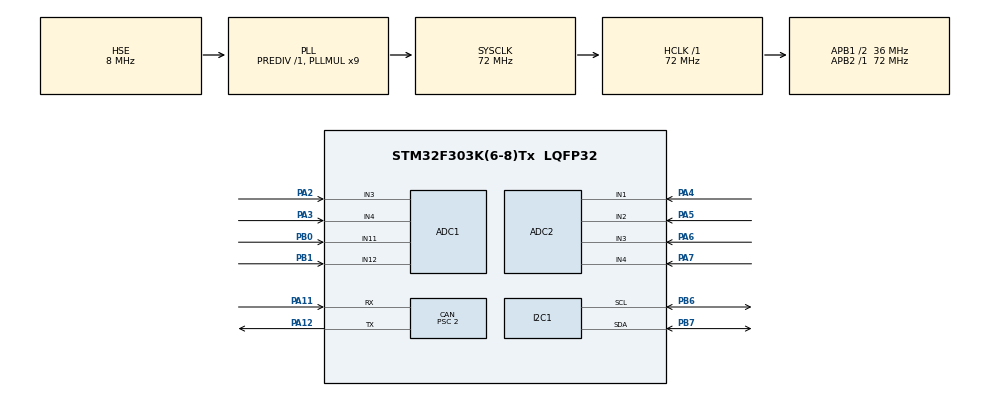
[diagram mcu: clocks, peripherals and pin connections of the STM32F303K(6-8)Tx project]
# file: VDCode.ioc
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ADC1.Channel-1\#ChannelRegularConversion=ADC_CHANNEL_3
ADC1.Channel-4\#ChannelRegularConversion=ADC_CHANNEL_4
ADC1.Channel-5\#ChannelRegularConversion=ADC_CHANNEL_11
ADC1.Channel-6\#ChannelRegularConversion=ADC_CHANNEL_12
ADC1.ContinuousConvMode=ENABLE
ADC1.DMAContinuousRequests=ENABLE
ADC1.EOCSelection=ADC_EOC_SINGLE_CONV
ADC1.EnableInjectedConversion=DISABLE
ADC1.ExternalTrigConv=ADC_SOFTWARE_START
ADC1.Mode=ADC_DUALMODE_REGSIMULT
ADC1.NbrOfConversion=4
ADC1.NbrOfConversionFlag=1
ADC1.Offset-1\#ChannelRegularConversion=0
ADC1.Offset-4\#ChannelRegularConversion=0
ADC1.Offset-5\#ChannelRegularConversion=0
ADC1.Offset-6\#ChannelRegularConversion=0
ADC1.OffsetNumber-1\#ChannelRegularConversion=ADC_OFFSET_NONE
ADC1.OffsetNumber-4\#ChannelRegularConversion=ADC_OFFSET_NONE
ADC1.OffsetNumber-5\#ChannelRegularConversion=ADC_OFFSET_NONE
ADC1.OffsetNumber-6\#ChannelRegularConversion=ADC_OFFSET_NONE
ADC1.Rank-1\#ChannelRegularConversion=1
ADC1.Rank-4\#ChannelRegularConversion=2
ADC1.Rank-5\#ChannelRegularConversion=3
ADC1.Rank-6\#ChannelRegularConversion=4
ADC1.SamplingTime-1\#ChannelRegularConversion=ADC_SAMPLETIME_61CYCLES_5
ADC1.SamplingTime-4\#ChannelRegularConversion=ADC_SAMPLETIME_61CYCLES_5
ADC1.SamplingTime-5\#ChannelRegularConversion=ADC_SAMPLETIME_61CYCLES_5
ADC1.SamplingTime-6\#ChannelRegularConversion=ADC_SAMPLETIME_61CYCLES_5
ADC1.SamplingTimeOPAMP-4\#ChannelRegularConversion=ADC_SAMPLETIME_61CYCLES_5
ADC1.SamplingTimeOPAMP-5\#ChannelRegularConversion=ADC_SAMPLETIME_61CYCLES_5
ADC1.SamplingTimeOPAMP-6\#ChannelRegularConversion=ADC_SAMPLETIME_61CYCLES_5
ADC1.SequencerNbRanks=1
ADC1.SubFamily=STM32F303x8
ADC1.master=1
ADC2.Channel-0\#ChannelRegularConversion=ADC_CHANNEL_1
ADC2.Channel-1\#ChannelRegularConversion=ADC_CHANNEL_2
ADC2.Channel-2\#ChannelRegularConversion=ADC_CHANNEL_3
ADC2.Channel-3\#ChannelRegularConversion=ADC_CHANNEL_4
ADC2.ContinuousConvMode=ENABLE
ADC2.DMAContinuousRequests=DISABLE
ADC2.EOCSelection=ADC_EOC_SINGLE_CONV
ADC2.EnableInjectedConversion=DISABLE
ADC2.Mode=ADC_DUALMODE_REGSIMULT
ADC2.NbrOfConversion=4
ADC2.NbrOfConversionFlag=1
ADC2.Offset-0\#ChannelRegularConversion=0
ADC2.Offset-1\#ChannelRegularConversion=0
ADC2.Offset-2\#ChannelRegularConversion=0
ADC2.Offset-3\#ChannelRegularConversion=0
ADC2.OffsetNumber-0\#ChannelRegularConversion=ADC_OFFSET_NONE
ADC2.OffsetNumber-1\#ChannelRegularConversion=ADC_OFFSET_NONE
ADC2.OffsetNumber-2\#ChannelRegularConversion=ADC_OFFSET_NONE
ADC2.OffsetNumber-3\#ChannelRegularConversion=ADC_OFFSET_NONE
ADC2.Rank-0\#ChannelRegularConversion=1
ADC2.Rank-1\#ChannelRegularConversion=2
ADC2.Rank-2\#ChannelRegularConversion=3
ADC2.Rank-3\#ChannelRegularConversion=4
ADC2.SamplingTime-0\#ChannelRegularConversion=ADC_SAMPLETIME_61CYCLES_5
ADC2.SamplingTime-1\#ChannelRegularConversion=ADC_SAMPLETIME_61CYCLES_5
ADC2.SamplingTime-2\#ChannelRegularConversion=ADC_SAMPLETIME_61CYCLES_5
ADC2.SamplingTime-3\#ChannelRegularConversion=ADC_SAMPLETIME_61CYCLES_5
ADC2.SamplingTimeOPAMP-1\#ChannelRegularConversion=ADC_SAMPLETIME_61CYCLES_5
ADC2.SamplingTimeOPAMP-2\#ChannelRegularConversion=ADC_SAMPLETIME_61CYCLES_5
ADC2.SamplingTimeOPAMP-3\#ChannelRegularConversion=ADC_SAMPLETIME_61CYCLES_5
ADC2.SequencerNbRanks=1
ADC2.SubFamily=STM32F303x8
CAN.BS1=CAN_BS1_16TQ
CAN.CalculateBaudRate=1000000
CAN.CalculateTimeBit=1000
CAN.CalculateTimeQuantum=55.55555555555556
CAN.NART=DISABLE
CAN.Prescaler=2
CAN.SJW=CAN_SJW_1TQ
Dma.ADC1.0.Direction=DMA_PERIPH_TO_MEMORY
Dma.ADC1.0.Instance=DMA1_Channel1
Dma.ADC1.0.MemDataAlignment=DMA_MDATAALIGN_WORD
Dma.ADC1.0.MemInc=DMA_MINC_ENABLE
Dma.ADC1.0.Mode=DMA_CIRCULAR
Dma.ADC1.0.PeriphDataAlignment=DMA_PDATAALIGN_WORD
Dma.ADC1.0.PeriphInc=DMA_PINC_DISABLE
Dma.ADC1.0.Priority=DMA_PRIORITY_LOW
Dma.I2C1_RX.2.Direction=DMA_PERIPH_TO_MEMORY
Dma.I2C1_RX.2.Instance=DMA1_Channel3
Dma.I2C1_RX.2.MemDataAlignment=DMA_MDATAALIGN_BYTE
Dma.I2C1_RX.2.MemInc=DMA_MINC_ENABLE
Dma.I2C1_RX.2.Mode=DMA_NORMAL
Dma.I2C1_RX.2.PeriphDataAlignment=DMA_PDATAALIGN_BYTE
Dma.I2C1_RX.2.PeriphInc=DMA_PINC_DISABLE
Dma.I2C1_RX.2.Priority=DMA_PRIORITY_LOW
Dma.I2C1_TX.1.Direction=DMA_MEMORY_TO_PERIPH
Dma.I2C1_TX.1.Instance=DMA1_Channel2
Dma.I2C1_TX.1.MemDataAlignment=DMA_MDATAALIGN_BYTE
Dma.I2C1_TX.1.MemInc=DMA_MINC_ENABLE
Dma.I2C1_TX.1.Mode=DMA_NORMAL
Dma.I2C1_TX.1.PeriphDataAlignment=DMA_PDATAALIGN_BYTE
Dma.I2C1_TX.1.PeriphInc=DMA_PINC_DISABLE
Dma.I2C1_TX.1.Priority=DMA_PRIORITY_LOW
Dma.Request0=ADC1
Dma.Request1=I2C1_TX
Dma.Request2=I2C1_RX
FREERTOS.BinarySemaphores01=adcDataSemaphore,Dynamic,NULL,Depleted;i2cTxSemaphore,Dynamic,NULL,Available;i2cRxSemaphore,Dynamic,NULL,Available
FREERTOS.CountingSemaphores01=canTxSemaphore,3,Dynamic,NULL,3
FREERTOS.Queues01=rxParamQueue,5,canBusConfig_t,0,Dynamic,NULL,NULL
FREERTOS.Tasks01=main,24,128,mainTask,Default,NULL,Dynamic,NULL,NULL;setParameters,16,128,setParametersTask,Default,NULL,Dynamic,NULL,NULL
I2C1.Timing=0x00201D2B
Mcu.Family=STM32F3
Mcu.Name=STM32F303K(6-8)Tx
Mcu.Package=LQFP32
NVIC.CAN_RX0_IRQn=true\:5\:0\:false\:false\:true\:true\:true\:true\:true
NVIC.CAN_TX_IRQn=true\:7\:0\:true\:false\:true\:true\:true\:true\:true
NVIC.DMA1_Channel1_IRQn=true\:5\:0\:false\:false\:true\:true\:false\:true\:true
NVIC.DMA1_Channel2_IRQn=true\:5\:0\:false\:false\:true\:true\:false\:true\:true
NVIC.DMA1_Channel3_IRQn=true\:5\:0\:false\:false\:true\:true\:false\:true\:true
NVIC.I2C1_EV_IRQn=true\:6\:0\:true\:false\:true\:true\:true\:true\:true
NVIC.PriorityGroup=NVIC_PRIORITYGROUP_4
NVIC.TIM1_UP_TIM16_IRQn=true\:15\:0\:false\:false\:true\:false\:false\:true\:true
NVIC.TimeBase=TIM1_UP_TIM16_IRQn
NVIC.TimeBaseIP=TIM1
PA11.Mode=CAN_Activate
PA11.Signal=CAN_RX
PA12.Mode=CAN_Activate
PA12.Signal=CAN_TX
PA13.Mode=Trace_Asynchronous_SW
PA13.Signal=SYS_JTMS-SWDIO
PA14.Mode=Trace_Asynchronous_SW
PA14.Signal=SYS_JTCK-SWCLK
PA2.Mode=IN3-Single-Ended
PA2.Signal=ADC1_IN3
PA3.Mode=IN4-Single-Ended
PA3.Signal=ADC1_IN4
PA4.Mode=IN1-Single-Ended
PA4.Signal=ADC2_IN1
PA5.Mode=IN2-Single-Ended
PA5.Signal=ADC2_IN2
PA6.Mode=IN3-Single-Ended
PA6.Signal=ADC2_IN3
PA7.Mode=IN4-Single-Ended
PA7.Signal=ADC2_IN4
PB0.Mode=IN11-Single-Ended
PB0.Signal=ADC1_IN11
PB1.Mode=IN12-Single-Ended
PB1.Signal=ADC1_IN12
PB3.Mode=Trace_Asynchronous_SW
PB3.Signal=SYS_JTDO-TRACESWO
PB6.GPIO_Pu=GPIO_PULLUP
PB6.Mode=I2C
PB6.Signal=I2C1_SCL
PB7.GPIO_Pu=GPIO_PULLUP
PB7.Mode=I2C
PB7.Signal=I2C1_SDA
PF0\ /\ OSC_IN.Mode=HSE-External-Oscillator
PF0\ /\ OSC_IN.Signal=RCC_OSC_IN
PF1\ /\ OSC_OUT.Mode=HSE-External-Oscillator
PF1\ /\ OSC_OUT.Signal=RCC_OSC_OUT
ProjectManager.HeapSize=0x200
ProjectManager.StackSize=0x400
ProjectManager.TargetToolchain=CMake
RCC.ADC12PRES=RCC_ADC12PLLCLK_DIV256
RCC.AHBFreq_Value=72000000
RCC.APB1CLKDivider=RCC_HCLK_DIV2
RCC.APB1Freq_Value=36000000
RCC.APB1TimFreq_Value=72000000
RCC.APB2Freq_Value=72000000
RCC.APB2TimFreq_Value=72000000
RCC.CortexFreq_Value=72000000
RCC.HCLKFreq_Value=72000000
RCC.HSE_VALUE=8000000
RCC.HSI_VALUE=8000000
RCC.PLLMUL=RCC_PLL_MUL9
RCC.PLLSourceVirtual=RCC_PLLSOURCE_HSE
RCC.SYSCLKFreq_VALUE=72000000
RCC.SYSCLKSourceVirtual=RCC_SYSCLKSOURCE_PLLCLK
VP_FREERTOS_VS_CMSIS_V2.Mode=CMSIS_V2
VP_SYS_VS_tim1.Mode=TIM1
board=custom

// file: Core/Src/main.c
/* USER CODE BEGIN Header */
/**
  ******************************************************************************
  * @file           : main.c
  * @brief          : Main program body
  ******************************************************************************
  * @attention
  *
  * Copyright (c) 2025 STMicroelectronics.
  * All rights reserved.
  *
  * This software is licensed under terms that can be found in the LICENSE file
  * in the root directory of this software component.
  * If no LICENSE file comes with this software, it is provided AS-IS.
  *
  ******************************************************************************
  */
/* USER CODE END Header */
#include "main.h"
#include "cmsis_os.h"

/* USER CODE BEGIN Includes */
#include "stdio.h"
#include "stdbool.h"
#include "asm330lhh_reg.h"
#include "config.h"
#include "string.h"
#include "stdarg.h"
#include "flash_utils.h"
/* USER CODE END Includes */

/* USER CODE BEGIN PD */

#define AXIS_NUM 3 /* 3-Axis measurement*/
#define SENSOR_BUS hi2c1
#define ACCEL_DATA_RATE ASM330LHH_XL_ODR_1667Hz	/* 6.6 kHz accelerometer data rate */
#define GYRO_DATA_RATE ASM330LHH_GY_ODR_1667Hz	/* 6.6 kHz gyroscope data rate */
#define IMU_SAMPLES_NUM 3

#define EVENT_CAN_TX_DONE 0x1

#define CAN_RX_FIFO_USED CAN_RX_FIFO0

/* USER CODE END PD */

ADC_HandleTypeDef hadc1;
ADC_HandleTypeDef hadc2;
DMA_HandleTypeDef hdma_adc1;

CAN_HandleTypeDef hcan;

I2C_HandleTypeDef hi2c1;
DMA_HandleTypeDef hdma_i2c1_tx;
DMA_HandleTypeDef hdma_i2c1_rx;

/* Definitions for main */
osThreadId_t mainHandle;
const osThreadAttr_t main_attributes = {
  .name = "main",
  .stack_size = 128 * 4,
  .priority = (osPriority_t) osPriorityNormal,
};
/* Definitions for setParameters */
osThreadId_t setParametersHandle;
const osThreadAttr_t setParameters_attributes = {
  .name = "setParameters",
  .stack_size = 128 * 4,
  .priority = (osPriority_t) osPriorityBelowNormal,
};
/* Definitions for rxParamQueue */
osMessageQueueId_t rxParamQueueHandle;
const osMessageQueueAttr_t rxParamQueue_attributes = {
  .name = "rxParamQueue"
};
/* Definitions for adcDataSemaphore */
osSemaphoreId_t adcDataSemaphoreHandle;
const osSemaphoreAttr_t adcDataSemaphore_attributes = {
  .name = "adcDataSemaphore"
};
/* Definitions for i2cTxSemaphore */
osSemaphoreId_t i2cTxSemaphoreHandle;
const osSemaphoreAttr_t i2cTxSemaphore_attributes = {
  .name = "i2cTxSemaphore"
};
/* Definitions for i2cRxSemaphore */
osSemaphoreId_t i2cRxSemaphoreHandle;
const osSemaphoreAttr_t i2cRxSemaphore_attributes = {
  .name = "i2cRxSemaphore"
};
/* Definitions for canTxSemaphore */
osSemaphoreId_t canTxSemaphoreHandle;
const osSemaphoreAttr_t canTxSemaphore_attributes = {
  .name = "canTxSemaphore"
};
/* USER CODE BEGIN PV */

/* Callback function for ADC conversion */
void HAL_ADC_ConvCpltCallback(ADC_HandleTypeDef* hadc);

/* Callback functions for CAN TX */
void HAL_CAN_TxMailbox0CompleteCallback(CAN_HandleTypeDef *hcan);
void HAL_CAN_TxMailbox1CompleteCallback(CAN_HandleTypeDef *hcan);
void HAL_CAN_TxMailbox2CompleteCallback(CAN_HandleTypeDef *hcan);
void HAL_CAN_TxMailbox0AbortCallback(CAN_HandleTypeDef *hcan);
void HAL_CAN_TxMailbox1AbortCallback(CAN_HandleTypeDef *hcan);
void HAL_CAN_TxMailbox2AbortCallback(CAN_HandleTypeDef *hcan);

/* Callback function for CAN RX */
void HAL_CAN_RxFifo0MsgPendingCallback(CAN_HandleTypeDef *hcan);

/* Swaps the ADC signals to their correct positions. */
void ADC_swap(ADC_Samples_t *ret);

/* Function that sends data over CAN Bus CORRECTLY */
HAL_StatusTypeDef Send_CAN_Msg(uint32_t id, uint32_t dlc, uint8_t* aData);

void SimpleFilter(ADC_Samples_t *values, axis3bit16_t *accel, axis3bit16_t *gyro);

/* USER CODE END PV */

void SystemClock_Config(void);
static void MX_GPIO_Init(void);
static void MX_DMA_Init(void);
static void MX_ADC1_Init(void);
static void MX_ADC2_Init(void);
static void MX_CAN_Init(void);
static void MX_I2C1_Init(void);
void mainTask(void *argument);
void setParametersTask(void *argument);

/* USER CODE BEGIN PFP */

static int32_t platform_write(void *handle, uint8_t reg, const uint8_t *bufp, uint16_t len);
static int32_t platform_read(void *handle, uint8_t reg, uint8_t *bufp, uint16_t len);

void HAL_ADC_ConvCpltCallback(ADC_HandleTypeDef* hadc);

void HAL_I2C_MemTxCpltCallback(I2C_HandleTypeDef *hi2c);
void HAL_I2C_MemRxCpltCallback(I2C_HandleTypeDef *hi2c);
void HAL_I2C_ErrorCallback(I2C_HandleTypeDef *hi2c);

void ADC_swap(ADC_Samples_t *ret);

/* USER CODE END PFP */

/* USER CODE BEGIN 0 */

CAN_TxHeaderTypeDef TxHeader;	/* CAN Header */
uint32_t mailbox;				/* CAN Bus mailbox */
ADC_Samples_t ADC_Samples={0}, Final_ADC_Values={0};		/* ADC Data */

static const canBusConfig_t defaultAlphaConfig = {.alpha = DEFAULT_FILTER_ALPHA, .signal_to_smooth=POS_ADC_CHANNEL_1};

// This is a simple float array that holds all the alpha configurations.
// They are read from the memory during startup (toDo) or get set by CAN Bus
// Maybe a reset to the memory contents would be nice? Idk let's see.
float alphaConfigs[TOTAL_POSITIONS];

/* USER CODE END 0 */

int main(void)
{

  /* MCU Configuration--------------------------------------------------------*/

  /* Reset of all peripherals, Initializes the Flash interface and the Systick. */
  HAL_Init();

  /* Configure the system clock */
  SystemClock_Config();

  /* Initialize all configured peripherals */
  MX_GPIO_Init();
  MX_DMA_Init();
  MX_ADC1_Init();
  MX_ADC2_Init();
  MX_CAN_Init();
  MX_I2C1_Init();
  /* USER CODE BEGIN 2 */

  // Print useful information during start-up.
  ItmPrintf("Vehicle Dynamics Board, 2019, Centaurus Racing Team\n");
  ItmPrintf("Firmware Version: %s\nCompiled at: %s\n\n", FIRMWARE_VERSION, COMPILE_DATETIME);
  ItmPrintf("Compiled with the following variables:\n");
  #if IS_COG
  ItmPrintf("\tCOG Board\n\tCANBUS_ID_1: %x\n\tCANBUS_ID_2: %d\n\tCANBUS_ID_3: %x\n\tCANBUS_ID_4: %x\n", CANBUS_ID_1, CANBUS_ID_2, CANBUS_ID_3, CANBUS_ID_4);
  #else
  ItmPrintf("\tCANBUS_ID_1: %x\n\tCANBUS_ID_2: %d\n", CANBUS_ID_1, CANBUS_ID_2);
  #endif

	uint8_t retries = 0;
	while (retries < 4) {
		if (HAL_ADCEx_Calibration_Start(&hadc1, ADC_SINGLE_ENDED) != HAL_OK) {
			retries++;
		}
		else {
			break;
		}
		if (HAL_ADCEx_Calibration_Start(&hadc2, ADC_SINGLE_ENDED) != HAL_OK) {
			retries++;
		}
		else {
			break;
		}
	}

	HAL_StatusTypeDef status = HAL_ADC_Start(&hadc2);
	if (status != HAL_OK) {
		Error_Handler();
	}
	status = HAL_ADCEx_MultiModeStart_DMA(&hadc1, (uint32_t *)ADC_Samples.i16, 8);
	if (status != HAL_OK) {
		Error_Handler();
	}

	if (HAL_CAN_Start(&hcan) != HAL_OK) {
		Error_Handler();
	}

	if (HAL_CAN_ActivateNotification(&hcan, CAN_IT_TX_MAILBOX_EMPTY) != HAL_OK) {
		Error_Handler();
	}

  // Read the alpha configs during bootup
  float tmpConfigs[TOTAL_POSITIONS] = {0};
  Flash_Read(FLASH_DATA_ADDR, tmpConfigs, sizeof(tmpConfigs));
  for (POSITION_INDEX i=0;i<TOTAL_POSITIONS;i++) {
    if (tmpConfigs[i] == 0) {
      tmpConfigs[i] = DEFAULT_FILTER_ALPHA;
    }
  }
  memcpy(alphaConfigs, tmpConfigs, sizeof(alphaConfigs));
  /* USER CODE END 2 */

  /* Init scheduler */
  osKernelInitialize();

  /* Create the semaphores(s) */
  /* creation of adcDataSemaphore */
  adcDataSemaphoreHandle = osSemaphoreNew(1, 0, &adcDataSemaphore_attributes);

  /* creation of i2cTxSemaphore */
  i2cTxSemaphoreHandle = osSemaphoreNew(1, 1, &i2cTxSemaphore_attributes);

  /* creation of i2cRxSemaphore */
  i2cRxSemaphoreHandle = osSemaphoreNew(1, 1, &i2cRxSemaphore_attributes);

  /* creation of canTxSemaphore */
  canTxSemaphoreHandle = osSemaphoreNew(3, 3, &canTxSemaphore_attributes);

  /* Create the queue(s) */
  /* creation of rxParamQueue */
  rxParamQueueHandle = osMessageQueueNew (5, sizeof(canBusConfig_t), &rxParamQueue_attributes);

  /* Create the thread(s) */
  /* creation of main */
  mainHandle = osThreadNew(mainTask, NULL, &main_attributes);

  /* creation of setParameters */
  setParametersHandle = osThreadNew(setParametersTask, NULL, &setParameters_attributes);

  /* Start scheduler */
  osKernelStart();

  /* We should never get here as control is now taken by the scheduler */

  /* Infinite loop */
	while (1) {

	}
}

void SystemClock_Config(void)
{
  RCC_OscInitTypeDef RCC_OscInitStruct = {0};
  RCC_ClkInitTypeDef RCC_ClkInitStruct = {0};
  RCC_PeriphCLKInitTypeDef PeriphClkInit = {0};

  /** Initializes the RCC Oscillators according to the specified parameters
  * in the RCC_OscInitTypeDef structure.
  */
  RCC_OscInitStruct.OscillatorType = RCC_OSCILLATORTYPE_HSI|RCC_OSCILLATORTYPE_HSE;
  RCC_OscInitStruct.HSEState = RCC_HSE_ON;
  RCC_OscInitStruct.HSEPredivValue = RCC_HSE_PREDIV_DIV1;
  RCC_OscInitStruct.HSIState = RCC_HSI_ON;
  RCC_OscInitStruct.HSICalibrationValue = RCC_HSICALIBRATION_DEFAULT;
  RCC_OscInitStruct.PLL.PLLState = RCC_PLL_ON;
  RCC_OscInitStruct.PLL.PLLSource = RCC_PLLSOURCE_HSE;
  RCC_OscInitStruct.PLL.PLLMUL = RCC_PLL_MUL9;
  if (HAL_RCC_OscConfig(&RCC_OscInitStruct) != HAL_OK)
  {
    Error_Handler();
  }

  /** Initializes the CPU, AHB and APB buses clocks
  */
  RCC_ClkInitStruct.ClockType = RCC_CLOCKTYPE_HCLK|RCC_CLOCKTYPE_SYSCLK
                              |RCC_CLOCKTYPE_PCLK1|RCC_CLOCKTYPE_PCLK2;
  RCC_ClkInitStruct.SYSCLKSource = RCC_SYSCLKSOURCE_PLLCLK;
  RCC_ClkInitStruct.AHBCLKDivider = RCC_SYSCLK_DIV1;
  RCC_ClkInitStruct.APB1CLKDivider = RCC_HCLK_DIV2;
  RCC_ClkInitStruct.APB2CLKDivider = RCC_HCLK_DIV1;

  if (HAL_RCC_ClockConfig(&RCC_ClkInitStruct, FLASH_LATENCY_2) != HAL_OK)
  {
    Error_Handler();
  }
  PeriphClkInit.PeriphClockSelection = RCC_PERIPHCLK_I2C1|RCC_PERIPHCLK_ADC12;
  PeriphClkInit.Adc12ClockSelection = RCC_ADC12PLLCLK_DIV256;
  PeriphClkInit.I2c1ClockSelection = RCC_I2C1CLKSOURCE_HSI;
  if (HAL_RCCEx_PeriphCLKConfig(&PeriphClkInit) != HAL_OK)
  {
    Error_Handler();
  }
}

static void MX_ADC1_Init(void)
{

  ADC_MultiModeTypeDef multimode = {0};
  ADC_ChannelConfTypeDef sConfig = {0};

  /** Common config
  */
  hadc1.Instance = ADC1;
  hadc1.Init.ClockPrescaler = ADC_CLOCK_ASYNC_DIV1;
  hadc1.Init.Resolution = ADC_RESOLUTION_12B;
  hadc1.Init.ScanConvMode = ADC_SCAN_ENABLE;
  hadc1.Init.ContinuousConvMode = ENABLE;
  hadc1.Init.DiscontinuousConvMode = DISABLE;
  hadc1.Init.ExternalTrigConvEdge = ADC_EXTERNALTRIGCONVEDGE_NONE;
  hadc1.Init.ExternalTrigConv = ADC_SOFTWARE_START;
  hadc1.Init.DataAlign = ADC_DATAALIGN_RIGHT;
  hadc1.Init.NbrOfConversion = 4;
  hadc1.Init.DMAContinuousRequests = ENABLE;
  hadc1.Init.EOCSelection = ADC_EOC_SINGLE_CONV;
  hadc1.Init.LowPowerAutoWait = DISABLE;
  hadc1.Init.Overrun = ADC_OVR_DATA_OVERWRITTEN;
  if (HAL_ADC_Init(&hadc1) != HAL_OK)
  {
    Error_Handler();
  }

  /** Configure the ADC multi-mode
  */
  multimode.Mode = ADC_DUALMODE_REGSIMULT;
  multimode.DMAAccessMode = ADC_DMAACCESSMODE_12_10_BITS;
  multimode.TwoSamplingDelay = ADC_TWOSAMPLINGDELAY_1CYCLE;
  if (HAL_ADCEx_MultiModeConfigChannel(&hadc1, &multimode) != HAL_OK)
  {
    Error_Handler();
  }

  /** Configure Regular Channel
  */
  sConfig.Channel = ADC_CHANNEL_3;
  sConfig.Rank = ADC_REGULAR_RANK_1;
  sConfig.SingleDiff = ADC_SINGLE_ENDED;
  sConfig.SamplingTime = ADC_SAMPLETIME_61CYCLES_5;
  sConfig.OffsetNumber = ADC_OFFSET_NONE;
  sConfig.Offset = 0;
  if (HAL_ADC_ConfigChannel(&hadc1, &sConfig) != HAL_OK)
  {
    Error_Handler();
  }

  /** Configure Regular Channel
  */
  sConfig.Channel = ADC_CHANNEL_4;
  sConfig.Rank = ADC_REGULAR_RANK_2;
  if (HAL_ADC_ConfigChannel(&hadc1, &sConfig) != HAL_OK)
  {
    Error_Handler();
  }

  /** Configure Regular Channel
  */
  sConfig.Channel = ADC_CHANNEL_11;
  sConfig.Rank = ADC_REGULAR_RANK_3;
  if (HAL_ADC_ConfigChannel(&hadc1, &sConfig) != HAL_OK)
  {
    Error_Handler();
  }

  /** Configure Regular Channel
  */
  sConfig.Channel = ADC_CHANNEL_12;
  sConfig.Rank = ADC_REGULAR_RANK_4;
  if (HAL_ADC_ConfigChannel(&hadc1, &sConfig) != HAL_OK)
  {
    Error_Handler();
  }

}

static void MX_ADC2_Init(void)
{

  ADC_ChannelConfTypeDef sConfig = {0};

  /** Common config
  */
  hadc2.Instance = ADC2;
  hadc2.Init.ClockPrescaler = ADC_CLOCK_ASYNC_DIV1;
  hadc2.Init.Resolution = ADC_RESOLUTION_12B;
  hadc2.Init.ScanConvMode = ADC_SCAN_ENABLE;
  hadc2.Init.ContinuousConvMode = ENABLE;
  hadc2.Init.DiscontinuousConvMode = DISABLE;
  hadc2.Init.DataAlign = ADC_DATAALIGN_RIGHT;
  hadc2.Init.NbrOfConversion = 4;
  hadc2.Init.DMAContinuousRequests = DISABLE;
  hadc2.Init.EOCSelection = ADC_EOC_SINGLE_CONV;
  hadc2.Init.LowPowerAutoWait = DISABLE;
  hadc2.Init.Overrun = ADC_OVR_DATA_OVERWRITTEN;
  if (HAL_ADC_Init(&hadc2) != HAL_OK)
  {
    Error_Handler();
  }

  /** Configure Regular Channel
  */
  sConfig.Channel = ADC_CHANNEL_1;
  sConfig.Rank = ADC_REGULAR_RANK_1;
  sConfig.SingleDiff = ADC_SINGLE_ENDED;
  sConfig.SamplingTime = ADC_SAMPLETIME_61CYCLES_5;
  sConfig.OffsetNumber = ADC_OFFSET_NONE;
  sConfig.Offset = 0;
  if (HAL_ADC_ConfigChannel(&hadc2, &sConfig) != HAL_OK)
  {
    Error_Handler();
  }

  /** Configure Regular Channel
  */
  sConfig.Channel = ADC_CHANNEL_2;
  sConfig.Rank = ADC_REGULAR_RANK_2;
  if (HAL_ADC_ConfigChannel(&hadc2, &sConfig) != HAL_OK)
  {
    Error_Handler();
  }

  /** Configure Regular Channel
  */
  sConfig.Channel = ADC_CHANNEL_3;
  sConfig.Rank = ADC_REGULAR_RANK_3;
  if (HAL_ADC_ConfigChannel(&hadc2, &sConfig) != HAL_OK)
  {
    Error_Handler();
  }

  /** Configure Regular Channel
  */
  sConfig.Channel = ADC_CHANNEL_4;
  sConfig.Rank = ADC_REGULAR_RANK_4;
  if (HAL_ADC_ConfigChannel(&hadc2, &sConfig) != HAL_OK)
  {
    Error_Handler();
  }

}

static void MX_CAN_Init(void)
{

  hcan.Instance = CAN;
  hcan.Init.Prescaler = 2;
  hcan.Init.Mode = CAN_MODE_NORMAL;
  hcan.Init.SyncJumpWidth = CAN_SJW_1TQ;
  hcan.Init.TimeSeg1 = CAN_BS1_16TQ;
  hcan.Init.TimeSeg2 = CAN_BS2_1TQ;
  hcan.Init.TimeTriggeredMode = DISABLE;
  hcan.Init.AutoBusOff = DISABLE;
  hcan.Init.AutoWakeUp = DISABLE;
  hcan.Init.AutoRetransmission = DISABLE;
  hcan.Init.ReceiveFifoLocked = DISABLE;
  hcan.Init.TransmitFifoPriority = DISABLE;
  if (HAL_CAN_Init(&hcan) != HAL_OK)
  {
    Error_Handler();
  }
  /* USER CODE BEGIN CAN_Init 2 */

  // Configure a CAN Bus filter to only notify the MCU
  // on the correct address.
  CAN_FilterTypeDef filter = {0};

  uint32_t filterId = (CANBUS_RCV_ADDR << 3) | 0x04;
  uint32_t filterMask = (0x1FFFFFFF << 3) | 0x04;

  filter.FilterBank = 0;
  filter.FilterMode = CAN_FILTERMODE_IDMASK;
  filter.FilterScale = CAN_FILTERSCALE_32BIT;
  filter.FilterIdHigh = (filterId >> 16) & 0xFFFF;
  filter.FilterIdLow = filterId & 0xFFFF;
  filter.FilterMaskIdHigh = (filterMask >> 16) & 0xFFFF;
  filter.FilterMaskIdLow = filterMask & 0xFFFF;
  filter.FilterFIFOAssignment = CAN_RX_FIFO_USED;
  filter.FilterActivation = ENABLE;

  if (HAL_CAN_ConfigFilter(&hcan, &filter) != HAL_OK) {
    return;
  }

  /* USER CODE END CAN_Init 2 */

}

static void MX_I2C1_Init(void)
{

  hi2c1.Instance = I2C1;
  hi2c1.Init.Timing = 0x00201D2B;
  hi2c1.Init.OwnAddress1 = 0;
  hi2c1.Init.AddressingMode = I2C_ADDRESSINGMODE_7BIT;
  hi2c1.Init.DualAddressMode = I2C_DUALADDRESS_DISABLE;
  hi2c1.Init.OwnAddress2 = 0;
  hi2c1.Init.OwnAddress2Masks = I2C_OA2_NOMASK;
  hi2c1.Init.GeneralCallMode = I2C_GENERALCALL_DISABLE;
  hi2c1.Init.NoStretchMode = I2C_NOSTRETCH_DISABLE;
  if (HAL_I2C_Init(&hi2c1) != HAL_OK)
  {
    Error_Handler();
  }

  /** Configure Analogue filter
  */
  if (HAL_I2CEx_ConfigAnalogFilter(&hi2c1, I2C_ANALOGFILTER_ENABLE) != HAL_OK)
  {
    Error_Handler();
  }

  /** Configure Digital filter
  */
  if (HAL_I2CEx_ConfigDigitalFilter(&hi2c1, 0) != HAL_OK)
  {
    Error_Handler();
  }

}

static void MX_DMA_Init(void)
{

  /* DMA controller clock enable */
  __HAL_RCC_DMA1_CLK_ENABLE();

  /* DMA interrupt init */
  /* DMA1_Channel1_IRQn interrupt configuration */
  HAL_NVIC_SetPriority(DMA1_Channel1_IRQn, 5, 0);
  HAL_NVIC_EnableIRQ(DMA1_Channel1_IRQn);
  /* DMA1_Channel2_IRQn interrupt configuration */
  HAL_NVIC_SetPriority(DMA1_Channel2_IRQn, 5, 0);
  HAL_NVIC_EnableIRQ(DMA1_Channel2_IRQn);
  /* DMA1_Channel3_IRQn interrupt configuration */
  HAL_NVIC_SetPriority(DMA1_Channel3_IRQn, 5, 0);
  HAL_NVIC_EnableIRQ(DMA1_Channel3_IRQn);

}

static void MX_GPIO_Init(void)
{

  /* GPIO Ports Clock Enable */
  __HAL_RCC_GPIOF_CLK_ENABLE();
  __HAL_RCC_GPIOA_CLK_ENABLE();
  __HAL_RCC_GPIOB_CLK_ENABLE();

}

/* USER CODE BEGIN 4 */

void HAL_ADC_ConvCpltCallback(ADC_HandleTypeDef* hadc) {
	osSemaphoreRelease(adcDataSemaphoreHandle);
}

void ADC_swap(ADC_Samples_t *ret) {
	ret->i16[POS_ADC_CHANNEL_1] = Final_ADC_Values.i16[POS_ADC_CHANNEL_1];
	ret->i16[POS_ADC_CHANNEL_2] = Final_ADC_Values.i16[POS_ADC_CHANNEL_3];
	ret->i16[POS_ADC_CHANNEL_3] = Final_ADC_Values.i16[POS_ADC_CHANNEL_2];
	ret->i16[POS_ADC_CHANNEL_4] = Final_ADC_Values.i16[POS_ADC_CHANNEL_4];
	ret->i16[POS_ADC_CHANNEL_5] = Final_ADC_Values.i16[POS_ADC_CHANNEL_6];
	ret->i16[POS_ADC_CHANNEL_6] = Final_ADC_Values.i16[POS_ADC_CHANNEL_8];
	ret->i16[POS_ADC_CHANNEL_7] = Final_ADC_Values.i16[POS_ADC_CHANNEL_5];
	ret->i16[POS_ADC_CHANNEL_8] = Final_ADC_Values.i16[POS_ADC_CHANNEL_7];
}

HAL_StatusTypeDef Send_CAN_Msg(uint32_t id, uint32_t dlc, uint8_t* aData) {
	HAL_StatusTypeDef status;

  if (dlc > 8) { // MAX bytes a single can msg can send once.
    return HAL_ERROR;
  }

  TxHeader.ExtId = id;
	TxHeader.DLC = dlc;
	TxHeader.IDE = CAN_ID_EXT;
	TxHeader.RTR = CAN_RTR_DATA;
	uint32_t mailbox;

	if (osSemaphoreAcquire(canTxSemaphoreHandle, pdMS_TO_TICKS(10)) != osOK) {
		return HAL_TIMEOUT;
	}

	status = HAL_CAN_AddTxMessage(&hcan, &TxHeader, aData, &mailbox);
	return status;
}

static inline void CAN_TX_Callback() {
	osSemaphoreRelease(canTxSemaphoreHandle);
}
void HAL_CAN_TxMailbox0CompleteCallback(CAN_HandleTypeDef *hcan){
	CAN_TX_Callback();
}
void HAL_CAN_TxMailbox1CompleteCallback(CAN_HandleTypeDef *hcan){
	CAN_TX_Callback();
}
void HAL_CAN_TxMailbox2CompleteCallback(CAN_HandleTypeDef *hcan){
	CAN_TX_Callback();
}
void HAL_CAN_TxMailbox0AbortCallback(CAN_HandleTypeDef *hcan){
	CAN_TX_Callback();
}
void HAL_CAN_TxMailbox1AbortCallback(CAN_HandleTypeDef *hcan){
	CAN_TX_Callback();
}
void HAL_CAN_TxMailbox2AbortCallback(CAN_HandleTypeDef *hcan){
	CAN_TX_Callback();
}

void HAL_CAN_RxFifo0MsgPendingCallback(CAN_HandleTypeDef *hcan) {
	CAN_RxHeaderTypeDef RxHeader;
	uint8_t RxData[8] = {0};

	if (HAL_CAN_GetRxMessage(hcan, CAN_RX_FIFO_USED, &RxHeader, RxData) != HAL_OK) {
		// Reception Error
		return;
	}

	if (RxHeader.ExtId != CANBUS_RCV_ADDR) {
		// msg not targeting our board, abort.
		return;
	}

  if (RxHeader.DLC != 3) {
    // We want to read just 2 params
    return;
  }

	canBusConfig_t param = {0};
	param.signal_to_smooth    = RxData[0]; // Number ranging from 0 to TOTAL_POSITIONS - 1
  param.alpha               = (float)RxData[1]; // Must convert this to 0...1 value in the proper task.
  param.permanently_stored  = RxData[2]; // 1 to permanently store this alpha configuration

  if (param.signal_to_smooth >= TOTAL_POSITIONS) {
    return;
  }

	// timeout must be 0, we're in ISR context
	osMessageQueuePut(rxParamQueueHandle, &param, 0, 0);
}

void SimpleFilter(ADC_Samples_t *values, axis3bit16_t *accel, axis3bit16_t *gyro) {
  static float filtered[TOTAL_POSITIONS];
  static bool first_run = true;

  if (!accel || !gyro) {
    return;
  }

  if (first_run) { // Set to zero on first run
    first_run = false;
    memset(filtered, 0, sizeof(filtered));
  }

  // alphaConfigs is a global variable set by an RTOS task. It is not set frequently,
  // thus guarding this variable is not required.
  // (it's a good practice to do though, I'm just lazy)
	for (POSITION_INDEX i = POS_ADC_CHANNEL_1; i <= POS_ADC_CHANNEL_8; i++) {
		filtered[i] += alphaConfigs[i] * ((float)values->i16[i] - filtered[i]);
		values->i16[i] = (int16_t)filtered[i];
	}

  for (POSITION_INDEX i = POS_IMU_ACCEL_X, j=0; i<= POS_IMU_ACCEL_Z; i++,j++) {
    filtered[i] += alphaConfigs[i] * ((float)accel->i16[j] - filtered[i]);
    accel->i16[j] = (int16_t) filtered[i];
  }

  for (POSITION_INDEX i = POS_IMU_GYRO_X, j=0; i<= POS_IMU_GYRO_Z; i++,j++) {
    filtered[i] += alphaConfigs[i] * ((float)gyro->i16[j] - filtered[i]);
    gyro->i16[j] = (int16_t) filtered[i];
  }

}

/*
 * @brief  Write generic device register (platform dependent)
 *
 * @param  handle    customizable argument. In this examples is used in
 *                   order to select the correct sensor bus handler.
 * @param  reg       register to write
 * @param  bufp      pointer to data to write in register reg
 * @param  len       number of consecutive register to write
*/
static int32_t platform_write(void *handle, uint8_t reg, const uint8_t *bufp, uint16_t len)
{
	osSemaphoreAcquire(i2cTxSemaphoreHandle, osWaitForever);
	return(HAL_I2C_Mem_Write_DMA(&hi2c1, ASM330LHH_I2C_ADD_H, reg, I2C_MEMADD_SIZE_8BIT, (uint8_t*) bufp, len));

}

/*
 * @brief  Read generic device register (platform dependent)
 *
 * @param  handle    customizable argument. In this examples is used in
 *                   order to select the correct sensor bus handler.
 * @param  reg       register to read
 * @param  bufp      pointer to buffer that store the data read
 * @param  len       number of consecutive register to read
 */
static int32_t platform_read(void *handle, uint8_t reg, uint8_t *bufp, uint16_t len)
{
	osSemaphoreAcquire(i2cRxSemaphoreHandle, osWaitForever);
	return(HAL_I2C_Mem_Read_DMA(&hi2c1, ASM330LHH_I2C_ADD_H, reg, I2C_MEMADD_SIZE_8BIT, (uint8_t*) bufp, len));

}

void initializeIMU(stmdev_ctx_t *dev_ctx) {
	asm330lhh_device_conf_set(dev_ctx, PROPERTY_ENABLE);			/* Start device configuration */
	asm330lhh_block_data_update_set(dev_ctx, PROPERTY_ENABLE);	/* Enable Block Data Update */
	asm330lhh_xl_data_rate_set(dev_ctx, ACCEL_DATA_RATE);	/* Set Accelerometer Output Data Rate */
	asm330lhh_gy_data_rate_set(dev_ctx, GYRO_DATA_RATE);	/* Set Gyroscope Output Data Rate */
	asm330lhh_xl_full_scale_set(dev_ctx, ASM330LHH_4g);			 /* Set 4G full scale for accelerometer. */
	asm330lhh_gy_full_scale_set(dev_ctx, ASM330LHH_2000dps);	/* Set 2000 dps full scale for gyroscope. */
	asm330lhh_xl_hp_path_on_out_set(dev_ctx, ASM330LHH_LP_ODR_DIV_100);	/* Configure filtering chain(No aux interface) */
	asm330lhh_xl_filter_lp2_set(dev_ctx, PROPERTY_ENABLE);				/*  Accelerometer - LPF1 + LPF2 path */
}

void readFromIMU(stmdev_ctx_t *dev_ctx, axis3bit16_t *accel, axis3bit16_t *gyro) {
	uint8_t availableData = 0;
  for (int i=0; i<5 && availableData==0; i++) { // Try to get data 5 times
	  asm330lhh_xl_flag_data_ready_get(dev_ctx, &availableData); // returns 0 for no error
  }
	if (!availableData) {
		return;
	}
	asm330lhh_acceleration_raw_get(dev_ctx, accel->i16);
	asm330lhh_angular_rate_raw_get(dev_ctx, gyro->i16);

	for (int i = 0; i < AXIS_NUM; i++) {
		accel->i16[i] = asm330lhh_from_fs4g_to_mg(accel->i16[i]);
		gyro->i16[i] = asm330lhh_from_fs2000dps_to_mdps(gyro->i16[i]);
	}
}

void HAL_I2C_MemTxCpltCallback(I2C_HandleTypeDef *hi2c){
	osSemaphoreRelease(i2cTxSemaphoreHandle);
}
void HAL_I2C_MemRxCpltCallback(I2C_HandleTypeDef *hi2c) {
	osSemaphoreRelease(i2cRxSemaphoreHandle);
}
void HAL_I2C_ErrorCallback(I2C_HandleTypeDef *hi2c) {
	Error_Handler();
}

int ItmPrintf(const char *format, ...) {
  char tmpBuffer[2048]={'\0'};

  va_list args;
  va_start(args, format);
  int retval = vsnprintf(tmpBuffer, sizeof(tmpBuffer), format, args);
  if (retval < 0 || retval > sizeof(tmpBuffer)) {
    ITM_SendChar('?');
  }
  else {
    for (int i=0;i<retval;i++) {
      ITM_SendChar(tmpBuffer[i]);
    }
  }
  va_end(args);
  return retval;
}

/* USER CODE END 4 */

/* USER CODE BEGIN Header_mainTask */
/**
  * @brief  Main function that sends data to the CAN Bus
  * @param  argument: Not used
  * @retval None
  */
/* USER CODE END Header_mainTask */
void mainTask(void *argument)
{
  /* USER CODE BEGIN 5 */

	#if IS_COG==1
	stmdev_ctx_t dev_ctx;
	dev_ctx.write_reg = platform_write;	/* Define the write function for the IMU library. */
	dev_ctx.read_reg = platform_read; /* Define the read function for the IMU library. */
	dev_ctx.handle = &SENSOR_BUS;

	initializeIMU(&dev_ctx);
	#endif

	while (1) {
		ADC_Samples_t values = {0};
		osSemaphoreAcquire(adcDataSemaphoreHandle, pdMS_TO_TICKS(5));
		Final_ADC_Values = ADC_Samples; // Buffer the ADC values during safe read
		ADC_swap(&values);

		#if IS_COG==0
    SimpleFilter(&values, NULL, NULL);

		Send_CAN_Msg(CANBUS_ID_1, 8, &values.u8[0]); // Sends ADC data vol1
		Send_CAN_Msg(CANBUS_ID_2, 8, &values.u8[8]); // Sends ADC data vol2
    #elif IS_COG==1
		axis3bit16_t accel, gyro;
		readFromIMU(&dev_ctx, &accel, &gyro);

    SimpleFilter(&values, &accel, &gyro);

    Send_CAN_Msg(CANBUS_ID_1, 6, &accel.u8[0]); // Sends accel data
		Send_CAN_Msg(CANBUS_ID_2, 6, &gyro.u8[0]); // Sends gyro data
		Send_CAN_Msg(CANBUS_ID_3, 8, &values.u8[0]); // Sends ADC data vol1
		Send_CAN_Msg(CANBUS_ID_4, 8, &values.u8[8]); // Sends ADC data vol2
		#endif

		osDelay(pdMS_TO_TICKS(10));
	}
  /* USER CODE END 5 */
}

void setParametersTask(void *argument)
{
  /* USER CODE BEGIN setParametersTask */
  /* Infinite loop */
	while (1) {
		canBusConfig_t rxParam = defaultAlphaConfig;
		osMessageQueueGet(rxParamQueueHandle, &rxParam, NULL, osWaitForever);

    rxParam.alpha = rxParam.alpha / 255.0f; // Converting this to 0...1 number
    alphaConfigs[rxParam.signal_to_smooth] = rxParam.alpha;

    if (rxParam.permanently_stored) {
      float tmpConfigs[TOTAL_POSITIONS];
      memcpy(tmpConfigs, alphaConfigs, sizeof(tmpConfigs));
      Flash_Write(FLASH_DATA_ADDR, tmpConfigs, sizeof(tmpConfigs));
    }
	}
  /* USER CODE END setParametersTask */
}

void HAL_TIM_PeriodElapsedCallback(TIM_HandleTypeDef *htim)
{
  if (htim->Instance == TIM1)
  {
    HAL_IncTick();
  }
}

void Error_Handler(void)
{
  /* USER CODE BEGIN Error_Handler_Debug */
  /* User can add his own implementation to report the HAL error return state */
  while (1)
  {
	NVIC_SystemReset();
  }
  /* USER CODE END Error_Handler_Debug */
}
